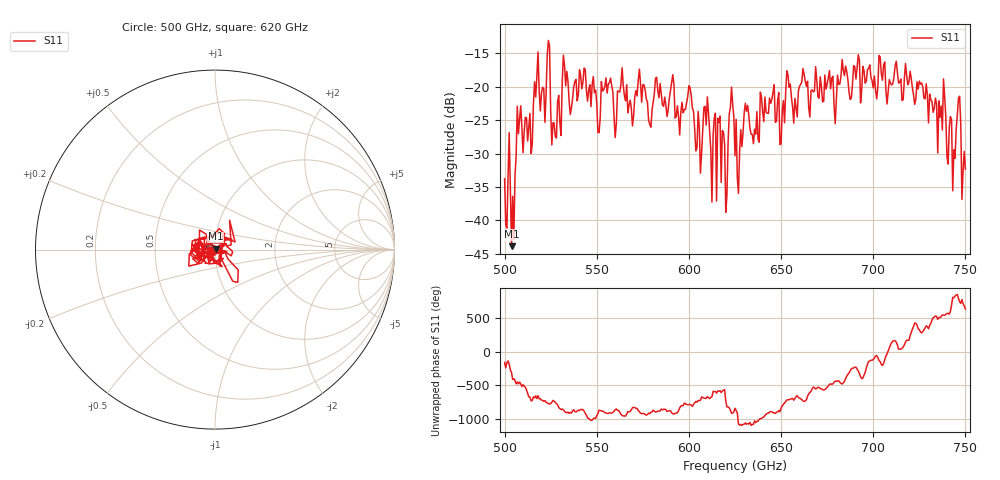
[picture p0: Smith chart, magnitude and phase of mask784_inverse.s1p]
!Created with skrf (http://scikit-rf.org).
# GHz S MA R 50.0
!freq magS11 angS11
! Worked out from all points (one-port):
!   401 points, 500 GHz to 750 GHz, reference 50 ohm
!   lowest |S11| = -43.9 dB at 503.8 GHz (marker M1), VSWR 1.01, Z = 50.4 + j0.499 ohm
!   |S11| at or under -10 dB: start of sweep to end of sweep
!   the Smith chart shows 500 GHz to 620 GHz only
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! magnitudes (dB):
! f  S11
! 500 GHz  -33.8
! 503.8 GHz  -43.9
! 508.1 GHz  -24.8
! 513.8 GHz  -24.0
! 517.5 GHz  -18.4
! 523.8 GHz  -13.1
! 526.9 GHz  -25.4
! 531.2 GHz  -19.4
! 542.5 GHz  -19.3
! 550.6 GHz  -26.8
! 562.5 GHz  -20.8
! 578.8 GHz  -25.6
! 590.6 GHz  -19.4
! 593.8 GHz  -22.8
! 600.6 GHz  -20.1
! 605.6 GHz  -26.0
! 609.4 GHz  -25.7
! 620 GHz  -38.8
! 623.1 GHz  -20.1
! 625 GHz  -30.3
! 627.5 GHz  -29.8
! 631.2 GHz  -23.7
! 656.2 GHz  -23.0
! 687.5 GHz  -21.9
! 718.8 GHz  -19.7
! 743.8 GHz  -29.4
! 746.2 GHz  -21.7
! 750 GHz  -32.3
